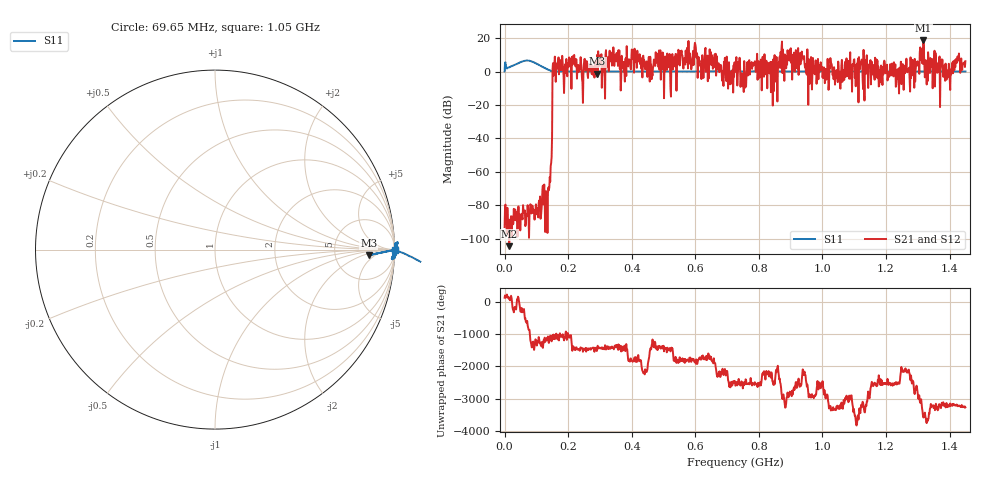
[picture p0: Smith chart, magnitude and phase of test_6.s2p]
! Created with skrf 1.11.0 (http://scikit-rf.org).
# Hz S RI R 50.0
!freq ReS11 ImS11 ReS21 ImS21 ReS12 ImS12 ReS22 ImS22
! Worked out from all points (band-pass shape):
!   1001 points, 50 kHz to 1.45 GHz, reference 50 ohm
!   highest |S21| = 18.56 dB at 1.318 GHz (marker M1); lowest = -104.3 dB at 14.55 MHz (marker M2)
!   |S21| within 3 dB of the highest: 578.3419 MHz to 578.9407 MHz (598.9 kHz wide, 0.103 % of centre); 598.0202 MHz to 600.6632 MHz (2.643 MHz wide, 0.441 % of centre) (the widest 2 of 4)
!   lowest |S11| = -1.3 dB at 291.5 MHz (marker M3), VSWR 13.00, Z = 616 - j145 ohm
!   |S11| at or under -10 dB: nowhere
!   |S22| runs from - to - dB; largest |S21 - S12| = 0
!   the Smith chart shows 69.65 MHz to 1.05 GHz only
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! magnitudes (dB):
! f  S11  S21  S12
! 50 kHz  0.0  -92.9  -92.9
! 14.55 MHz  2.6  -104.3  -104.3
! 133.4 MHz  1.4  -75.6  -75.6
! 142.1 MHz  0.7  -63.0  -63.0
! 158.1 MHz  0.0  8.9  8.9
! 219 MHz  0.1  9.9  9.9
! 242.2 MHz  0.1  0.9  0.9
! 291.5 MHz  -1.3  10.0  10.0
! 484.3 MHz  0.1  2.7  2.7
! 598.9 MHz  0.0  17.2  17.2
! 619.2 MHz  0.1  -4.5  -4.5
! 652.5 MHz  0.1  9.7  9.7
! 725 MHz  0.1  -0.2  -0.2
! 787.4 MHz  0.1  6.1  6.1
! 851.2 MHz  0.1  -3.9  -3.9
! 868.6 MHz  0.1  11.7  11.7
! 896.1 MHz  0.0  6.5  6.5
! 967.2 MHz  0.1  -10.7  -10.7
! 1.209 GHz  0.0  -3.3  -3.3
! 1.318 GHz  0.0  18.6  18.6
! 1.398 GHz  0.0  4.6  4.6
! 1.45 GHz  0.0  6.2  6.2
